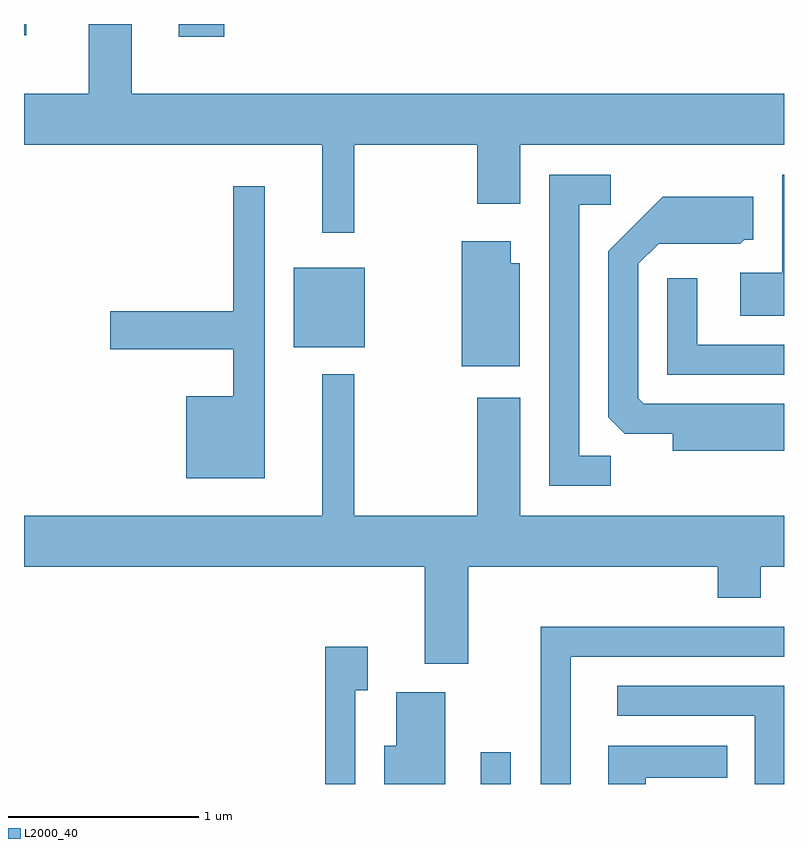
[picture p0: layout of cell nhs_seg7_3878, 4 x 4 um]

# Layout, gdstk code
import gdstk
lib = gdstk.Library(unit=1e-6, precision=1e-09)
def R(c, l, rs):  # rectangles x0, y0, x1, y1
    for r in rs: c.add(gdstk.rectangle(r[:2], r[2:], *l))
def P(c, l, *ps):  # polygons
    for p in ps: c.add(gdstk.Polygon(p, *l))
L2000_40 = (2000, 40)

nhs_seg7_3878 = lib.new_cell('nhs_seg7_3878')
R(nhs_seg7_3878, L2000_40, [(306.016,1744.252,306.174,1744.418), (305.031,1746.551,305.404,1746.969), (304.426,1748.186,304.664,1748.252), (303.611,1748.193,303.624,1748.252)])
P(nhs_seg7_3878, L2000_40, [(305.349,1747.616),(305.996,1747.616),(305.996,1747.306),(306.224,1747.306),(306.224,1747.616),(307.611,1747.616),(307.611,1747.884),(304.179,1747.884),(304.179,1748.252),(303.951,1748.252),(303.951,1747.884),(303.611,1747.884),(303.611,1747.616),(305.181,1747.616),(305.181,1747.153),(305.349,1747.153)],
  [(307.611,1747.459),(307.601,1747.459),(307.601,1746.944),(307.381,1746.944),(307.381,1746.716),(307.611,1746.716)],
  [(306.698,1745.979),(306.534,1745.979),(306.534,1747.301),(306.698,1747.301),(306.698,1747.459),(306.376,1747.459),(306.376,1745.821),(306.698,1745.821)],
  [(304.879,1747.398),(304.711,1747.398),(304.711,1746.739),(304.066,1746.739),(304.066,1746.541),(304.711,1746.541),(304.711,1746.294),(304.466,1746.294),(304.466,1745.861),(304.879,1745.861)],
  [(307.611,1746.254),(306.872,1746.254),(306.844,1746.282),(306.844,1746.989),(306.952,1747.096),(307.382,1747.096),(307.402,1747.116),(307.449,1747.116),(307.449,1747.344),(306.974,1747.344),(306.686,1747.057),(306.686,1746.182),(306.772,1746.096),(307.026,1746.096),(307.026,1746.006),(307.611,1746.006)],
  [(306.219,1746.994),(306.174,1746.994),(306.174,1747.109),(305.916,1747.109),(305.916,1746.451),(306.219,1746.451)],
  [(307.611,1746.564),(307.154,1746.564),(307.154,1746.913),(306.996,1746.913),(306.996,1746.406),(307.611,1746.406)],
  [(305.949,1745.396),(307.261,1745.396),(307.261,1745.231),(307.489,1745.231),(307.489,1745.396),(307.611,1745.396),(307.611,1745.664),(306.224,1745.664),(306.224,1746.284),(305.996,1746.284),(305.996,1745.664),(305.349,1745.664),(305.349,1746.408),(305.181,1746.408),(305.181,1745.664),(303.611,1745.664),(303.611,1745.396),(305.721,1745.396),(305.721,1744.886),(305.949,1744.886)],
  [(306.489,1744.921),(307.611,1744.921),(307.611,1745.079),(306.331,1745.079),(306.331,1744.252),(306.489,1744.252)],
  [(305.354,1744.746),(305.419,1744.746),(305.419,1744.974),(305.196,1744.974),(305.196,1744.252),(305.354,1744.252)],
  [(307.611,1744.769),(306.733,1744.769),(306.733,1744.611),(307.456,1744.611),(307.456,1744.252),(307.611,1744.252)],
  [(305.829,1744.734),(305.571,1744.734),(305.571,1744.454),(305.506,1744.454),(305.506,1744.252),(305.829,1744.252)],
  [(306.884,1744.286),(307.313,1744.286),(307.313,1744.454),(306.686,1744.454),(306.686,1744.252),(306.884,1744.252)])

lib.write_gds('nhs_seg7_3878.gds')
